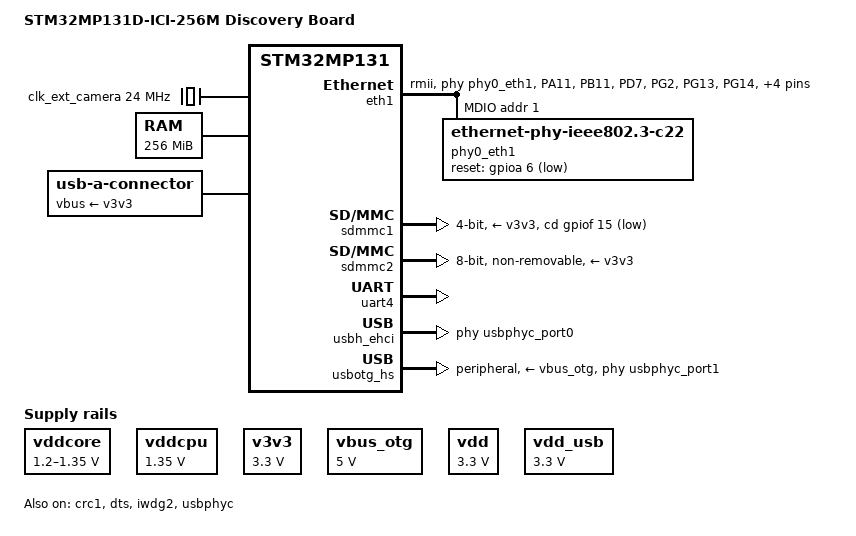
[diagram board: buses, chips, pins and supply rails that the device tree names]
// SPDX-License-Identifier: (GPL-2.0+ OR BSD-3-Clause)
/*
 * Copyright (C) STMicroelectronics 2022 - All Rights Reserved
 * Author: Alexandre Torgue <alexandre.torgue@foss.st.com> for STMicroelectronics.
 */

/dts-v1/;

#include <dt-bindings/gpio/gpio.h>
#include <dt-bindings/input/input.h>
#include <dt-bindings/leds/common.h>
#include <dt-bindings/rtc/rtc-stm32.h>
#include "stm32mp131.dtsi"
#include "stm32mp13xd.dtsi"
#include "stm32mp13-pinctrl-ici.dtsi"

/ {
	model = "STM32MP131D-ICI-256M Discovery Board";
	compatible = "st,stm32mp131d-ici", "st,stm32mp131";

	aliases {
		ethernet0 = &eth1;
		serial0 = &uart4;
	};

	chosen {
		#address-cells = <1>;
		#size-cells = <1>;
		ranges;
		stdout-path = "serial0:115200n8";

		framebuffer {
			compatible = "simple-framebuffer";
			clocks = <&rcc LTDC_PX>;
			status = "disabled";
		};
	};

	clocks {
		clk_ext_camera: clk-ext-camera {
			#clock-cells = <0>;
			compatible = "fixed-clock";
			clock-frequency = <24000000>;
		};

		clk_mco1: clk-mco1 {
			#clock-cells = <0>;
			compatible = "fixed-clock";
			clock-frequency = <24000000>;
		};
	};

	memory@c0000000 {
		device_type = "memory";
		reg = <0xc0000000 0x10000000>;
	};

	reserved-memory {
		#address-cells = <1>;
		#size-cells = <1>;
		ranges;

		optee_framebuffer@cd000000 {
			reg = <0xcd000000 0x1000000>;
			no-map;
		};

		optee@ce000000 {
			reg = <0xce000000 0x2000000>;
			no-map;
		};
	};

	vddcore: vddcore {
        compatible = "regulator-fixed";
        regulator-name = "vddcore";
        regulator-min-microvolt = <1200000>;
        regulator-max-microvolt = <1350000>;
        regulator-off-in-suspend;
        regulator-always-on;
	};

	vddcpu: vddcpu {
		compatible = "regulator-fixed";
		regulator-name = "vddcpu";
		regulator-min-microvolt = <1350000>;
		regulator-max-microvolt = <1350000>;
        regulator-off-in-suspend;
        regulator-always-on;
	};

	v3v3: v3v3 {
        compatible = "regulator-fixed";
        regulator-name = "v3v3";
        regulator-min-microvolt = <3300000>;
        regulator-max-microvolt = <3300000>;
        regulator-off-in-suspend;
        regulator-always-on;
    };

	vbus_otg: vbus_otg {
        compatible = "regulator-fixed";
        regulator-name = "vbus_otg";
        regulator-min-microvolt = <5000000>;
        regulator-max-microvolt = <5000000>;
        regulator-off-in-suspend;
		regulator-always-on;
    };

	vdd: vdd {
        compatible = "regulator-fixed";
        regulator-name = "vdd";
        regulator-min-microvolt = <3300000>;
        regulator-max-microvolt = <3300000>;
        regulator-off-in-suspend;
        regulator-always-on;
    };

	vdd_usb: vdd_usb {
        compatible = "regulator-fixed";
        regulator-name = "vdd_usb";
        regulator-min-microvolt = <3300000>;
        regulator-max-microvolt = <3300000>;
        regulator-off-in-suspend;
        regulator-always-on;
    };
};

&crc1 {
	status = "okay";
};

&dts {
	status = "okay";
};

&eth1 {
	status = "okay";
	pinctrl-0 = <&eth1_rmii_pins_a>;
	pinctrl-1 = <&eth1_rmii_sleep_pins_a>;
	pinctrl-names = "default", "sleep";
	phy-mode = "rmii";
	max-speed = <100>;
	phy-handle = <&phy0_eth1>;
	nvmem-cells = <&ethernet_mac1_address>;
	nvmem-cell-names = "mac-address";
	mac-address = [00 0a 35 00 00 01];

	mdio1 {
		#address-cells = <1>;
		#size-cells = <0>;
		compatible = "snps,dwmac-mdio";

		phy0_eth1: ethernet-phy@1 {
			compatible = "ethernet-phy-ieee802.3-c22";
			reset-gpios =  <&gpioa 6 GPIO_ACTIVE_LOW>;
			reg = <1>;
			wakeup-source;
		};
	};
};

&iwdg2 {
	timeout-sec = <32>;
	pinctrl-names = "default";
    pinctrl-0 = <&gpio_r>,<&gpio_g>, <&gpio_b>;
	status = "okay";
};

&sdmmc1 {
	pinctrl-names = "default", "opendrain", "sleep";
	pinctrl-0 = <&sdmmc1_b4_pins_a &sdmmc1_clk_pins_a>;
	pinctrl-1 = <&sdmmc1_b4_od_pins_a &sdmmc1_clk_pins_a>;
	pinctrl-2 = <&sdmmc1_b4_sleep_pins_a>;
	cd-gpios = <&gpiof 15 (GPIO_ACTIVE_LOW | GPIO_PULL_UP)>;
	disable-wp;
	st,neg-edge;
	no-1-8-v;
	bus-width = <4>;
	vmmc-supply = <&v3v3>;
	status = "okay";
};

/* EMMC */
&sdmmc2 {
	pinctrl-names = "default", "opendrain", "sleep";
	pinctrl-0 = <&sdmmc2_b4_pins_a &sdmmc2_b4_b7_pins_a &sdmmc2_clk_pins_a>;
	pinctrl-1 = <&sdmmc2_b4_od_pins_a &sdmmc2_b4_b7_od_pins_a &sdmmc2_clk_pins_a>;
	pinctrl-2 = <&sdmmc2_b4_sleep_pins_a &sdmmc2_b4_b7_sleep_pins_a>;
	non-removable;
	st,neg-edge;
	mmc-ddr-3_3v;
 	no-1-8-v;
	bus-width = <8>;
	vmmc-supply = <&v3v3>;
	#address-cells = <1>;
	#size-cells = <0>;
	status = "okay";
};

&uart4 {
	pinctrl-names = "default";
	pinctrl-0 = <&uart4_pins_a>;
	/delete-property/dmas;
	/delete-property/dma-names;
	status = "okay";
};

&usbh_ehci {
	phys = <&usbphyc_port0>;
	status = "okay";
};

&usbotg_hs {
	phys = <&usbphyc_port1 0>;
	phy-names = "usb2-phy";
	dr_mode = "peripheral";                          /* could be "host", see USB generic bindings */
	u-boot,force-b-session-valid;
	pinctrl-0 = <&usbotg_hs_pins_a>;
	pinctrl-names = "default";
	vbus-supply = <&vbus_otg>;
	status = "okay";
};

&usbphyc {
	status = "okay";
};

&usbphyc_port0 {
	phy-supply = <&vdd>;
	st,current-boost-microamp = <1000>;
	st,decrease-hs-slew-rate;
	st,tune-hs-dc-level = <2>;
	st,enable-hs-rftime-reduction;
	st,trim-hs-current = <11>;
	st,trim-hs-impedance = <2>;
	st,tune-squelch-level = <1>;
	st,enable-hs-rx-gain-eq;
	st,no-hs-ftime-ctrl;
	st,no-lsfs-sc;

	/*
	 * Hack to keep hub active if wakeup source is enabled
	 * otherwise the hub will wakeup the port0 as soon as the v3v3_sw is disabled
	 */
	connector {
		compatible = "usb-a-connector";
		vbus-supply = <&v3v3>;
	};
};

&usbphyc_port1 {
	phy-supply = <&vdd>;
	st,current-boost-microamp = <1000>;
	st,decrease-hs-slew-rate;
	st,tune-hs-dc-level = <2>;
	st,enable-hs-rftime-reduction;
	st,trim-hs-current = <11>;
	st,trim-hs-impedance = <2>;
	st,tune-squelch-level = <1>;
	st,enable-hs-rx-gain-eq;
	st,no-hs-ftime-ctrl;
	st,no-lsfs-sc;
};

&pinctrl {
	eth1_rmii_pins_a: eth1-rmii-1 {
		pins1 {
			pinmux = <STM32_PINMUX('A', 11, AF11)>, /* ETH1_CLK */
					 <STM32_PINMUX('B', 11, AF11)>, /* ETH1_TX_EN */
					 <STM32_PINMUX('D', 7, AF10)>, /* ETH1_REF_CLK */
					 <STM32_PINMUX('G', 2, AF11)>, /* ETH1_MDC */
					 <STM32_PINMUX('G', 13, AF11)>, /* ETH1_TXD0 */
					 <STM32_PINMUX('G', 14, AF11)>; /* ETH1_TXD1 */
			bias-disable;
			drive-push-pull;
			slew-rate = <1>;
		};
		pins2 {
			pinmux = <STM32_PINMUX('A', 7, AF11)>, /* ETH1_CRS_DV */
					 <STM32_PINMUX('C', 4, AF11)>, /* ETH1_RXD0 */
					 <STM32_PINMUX('C', 5, AF11)>; /* ETH1_RXD1 */
			bias-disable;
		};
		pins3 {
			pinmux = <STM32_PINMUX('G', 3, AF11)>; /* ETH1_MDIO */
			bias-disable;
			drive-push-pull;
			slew-rate = <0>;
		};
	};

	eth1_rmii_sleep_pins_a: eth1-rmii-sleep-1 {
		pins {
			pinmux = <STM32_PINMUX('A', 7, ANALOG)>, /* ETH1_CRS_DV */
					 <STM32_PINMUX('A', 11, ANALOG)>, /* ETH1_CLK */
					 <STM32_PINMUX('B', 11, ANALOG)>, /* ETH1_TX_EN */
					 <STM32_PINMUX('C', 4, ANALOG)>, /* ETH1_RXD0 */
					 <STM32_PINMUX('C', 5, ANALOG)>, /* ETH1_RXD1 */
					 <STM32_PINMUX('D', 7, ANALOG)>, /* ETH1_REF_CLK */
					 <STM32_PINMUX('G', 2, ANALOG)>, /* ETH1_MDC */
					 <STM32_PINMUX('G', 3, ANALOG)>, /* ETH1_MDIO */
					 <STM32_PINMUX('G', 13, ANALOG)>, /* ETH1_TXD0 */
					 <STM32_PINMUX('G', 14, ANALOG)>; /* ETH1_TXD1 */
		};
	};

	gpio_r:gpio_r {
        pins {
            pinmux = <STM32_PINMUX('E', 9, GPIO)>; /* PE9.GPIO */
            bias-pull-up;
            drive-push-pull;
        };
    };

   gpio_g:gpio_g {
        pins {
            pinmux = <STM32_PINMUX('A', 15, GPIO)>; /* PA15.GPIO */
            bias-pull-up;
            drive-push-pull;
        };
    };

   gpio_b:gpio_b {
        pins {
            pinmux = <STM32_PINMUX('E', 15, GPIO)>; /* PE15.GPIO */
            bias-pull-up;
            drive-push-pull;
        };
    };
};
